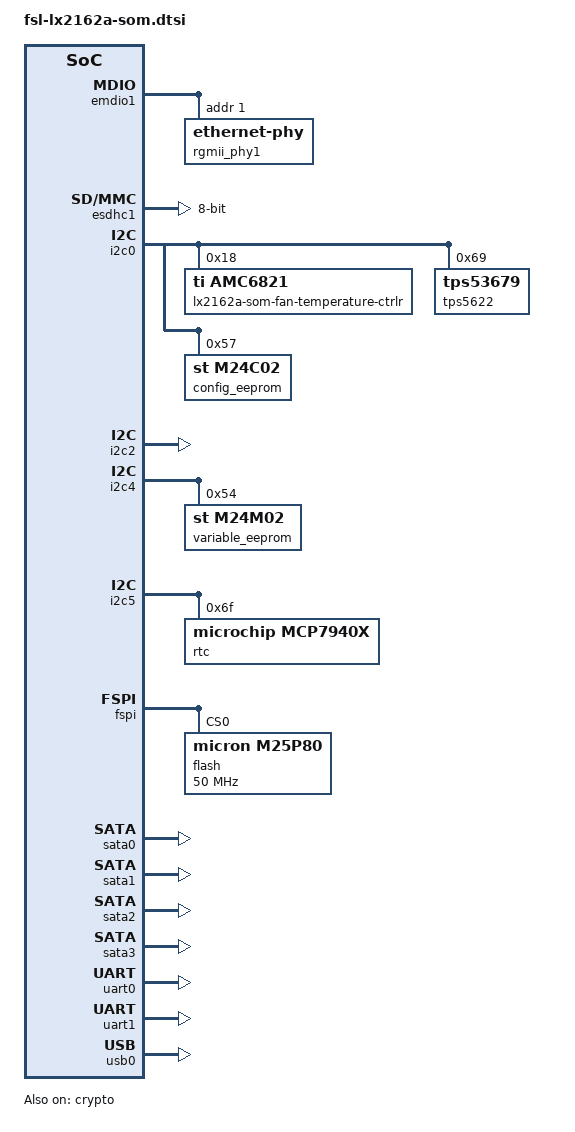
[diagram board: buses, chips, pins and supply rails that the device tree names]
// SPDX-License-Identifier: (GPL-2.0 OR MIT)
//
// Device Tree file for LX2162A-SOM
//
// Copyright 2021 SolidRun Ltd. (rabeeh@solid-run.com)


#include "fsl-lx2160a.dtsi"

&crypto {
	status = "okay";
};

&dpmac17 {
	phy-handle = <&rgmii_phy1>;
	phy-connection-type = "rgmii-id";
};

&emdio1 {
	status = "okay";

	rgmii_phy1: ethernet-phy@1 {
		reg = <1>;
	};
};

&esdhc1 {
	mmc-hs200-1_8v;
	mmc-hs400-1_8v;
	bus-width = <8>;
	status = "okay";
};

&i2c0 {
	status = "okay";
	lx2162a-som-fan-temperature-ctrlr@18 {
		compatible = "ti,amc6821";
		reg = <0x18>;
		cooling-min-state = <0>;
		cooling-max-state = <9>;
		#cooling-cells = <2>;
	};
	tps5622@69 {
		compatible = "tps53679";
		reg = <0x69>;
	};

	config_eeprom: eeprom@57 {
		reg = <0x57>;
		compatible = "st,m24c02", "atmel,24c02";
	};
};

&i2c2 {
	status = "okay";
};

&i2c4 {
	status = "okay";

	variable_eeprom: eeprom@54 {
		reg = <0x54>;
		compatible = "st,m24m02", "atmel,24c2048";
	};
};

&i2c5 {
	status = "okay";
	rtc@6f {
		compatible = "microchip,mcp7940x";
		reg = <0x6f>;
	};
};

&fspi {
	status = "okay";

	flash@0 {
		#address-cells = <1>;
		#size-cells = <1>;
		compatible = "micron,m25p80";
		m25p,fast-read;
		spi-max-frequency = <50000000>;
		reg = <0>;
		/* The following setting enables 1-1-8 (CMD-ADDR-DATA) mode */
		spi-rx-bus-width = <8>;
		spi-tx-bus-width = <8>;
	};
};

&sata0 {
	status = "okay";
};

&sata1 {
	status = "okay";
};

&sata2 {
	status = "okay";
};

&sata3 {
	status = "okay";
};

&uart0 {
	status = "okay";
};

&uart1 {
	status = "okay";
};

&usb0 {
	status = "okay";
};


